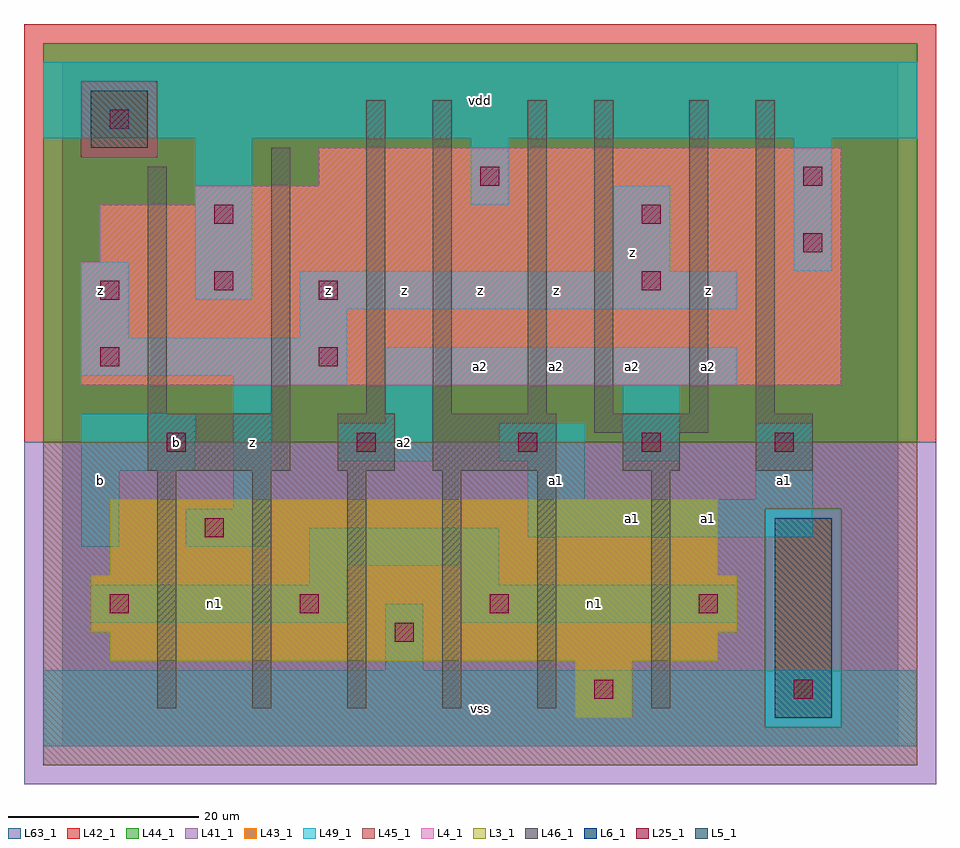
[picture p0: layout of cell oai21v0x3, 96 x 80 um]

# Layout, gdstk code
import gdstk
lib = gdstk.Library(unit=1e-6, precision=1e-09)
def R(c, l, rs):  # rectangles x0, y0, x1, y1
    for r in rs: c.add(gdstk.rectangle(r[:2], r[2:], *l))
def A(c, l, x, y, w, h, nx, ny, dx, dy):  # array of equal rectangles
    R(c, l, [(x+i*dx, y+j*dy, x+i*dx+w, y+j*dy+h) for i in range(nx) for j in range(ny)])
L3_1 = (3, 1)
L4_1 = (4, 1)
L5_1 = (5, 1)
L6_1 = (6, 1)
L25_1 = (25, 1)
L41_1 = (41, 1)
L42_1 = (42, 1)
L43_1 = (43, 1)
L44_1 = (44, 1)
L45_1 = (45, 1)
L46_1 = (46, 1)
L49_1 = (49, 1)
L63_1 = (63, 1)

oai21v0x3 = lib.new_cell('oai21v0x3')
R(oai21v0x3, L3_1, [(54,3,60,9), (5,9,69,12), (3,12,71,18), (5,18,69,26)])
R(oai21v0x3, L4_1, [(2,38,82,51), (4,51,82,57), (14,57,82,59), (27,59,82,63)])
R(oai21v0x3, L5_1, [(3,63,9,69)])
R(oai21v0x3, L6_1, [(75,3,81,24), (75,3,81,24)])
A(oai21v0x3, L25_1, 5, 14, 2, 2, 3, 1, 20, 0)
R(oai21v0x3, L25_1, [(56,5,58,7), (77,5,79,7), (35,11,37,13), (67,14,69,16), (15,22,17,24), (11,31,13,33), (31,31,33,33), (48,31,50,33), (61,31,63,33), (75,31,77,33), (4,40,6,42), (27,40,29,42), (4,47,6,49), (27,47,29,49), (16,48,18,50), (61,48,63,50), (78,52,80,54), (16,55,18,57), (61,55,63,57), (44,59,46,61), (78,59,80,61), (5,65,7,67)])
R(oai21v0x3, L41_1, [(-4,-4,92,32)])
R(oai21v0x3, L42_1, [(-4,32,92,76)])
R(oai21v0x3, L43_1, [(54,3,60,9), (75,3,81,24), (5,9,69,12), (3,12,71,18), (5,18,69,26), (2,38,82,51), (4,51,82,57), (14,57,82,59), (27,59,82,63), (3,63,9,69)])
R(oai21v0x3, L44_1, [(74,2,82,25), (-2,32,90,62), (-2,62,2,70), (10,62,90,70), (-2,70,90,74)])
R(oai21v0x3, L45_1, [(-2,-2,90,2), (-2,2,74,25), (82,2,90,25), (-2,25,90,32), (2,62,10,70)])
A(oai21v0x3, L46_1, 10, 4, 2, 25, 5, 1, 10, 0)
R(oai21v0x3, L46_1, [(62,4,64,29), (9,29,24,35), (29,29,35,35), (39,29,52,35), (59,29,65,33), (73,29,79,35), (56,33,68,35), (9,35,11,61), (22,35,24,63), (32,35,34,68), (39,35,41,68), (49,35,51,68), (56,35,58,68), (66,35,68,68), (73,35,75,68)])
R(oai21v0x3, L49_1, [(-2,0,90,8), (34,8,38,15), (3,13,30,17), (42,13,71,17), (26,17,30,19), (42,17,46,19), (26,19,46,23), (2,21,6,29), (13,21,22,25), (49,22,79,26), (18,25,22,38), (49,26,55,30), (73,26,79,34), (2,29,14,35), (29,30,39,34), (46,30,55,34), (59,30,65,38), (34,34,39,38), (18,38,30,39), (34,38,71,42), (2,39,30,43), (2,43,7,51), (25,43,30,46), (25,46,71,50), (14,47,20,64), (58,50,64,59), (77,50,81,64), (43,57,47,64), (-2,64,90,72)])
R(oai21v0x3, L63_1, [(0,0,88,72)])
oai21v0x3.add(gdstk.Label('b', (12,32), layer=49, texttype=1))
oai21v0x3.add(gdstk.Label('b', (4,28), layer=49, texttype=1))
oai21v0x3.add(gdstk.Label('z', (4,48), layer=49, texttype=1))
oai21v0x3.add(gdstk.Label('n1', (16,15), layer=49, texttype=1))
oai21v0x3.add(gdstk.Label('z', (20,32), layer=49, texttype=1))
oai21v0x3.add(gdstk.Label('z', (28,48), layer=49, texttype=1))
oai21v0x3.add(gdstk.Label('vss', (44,4), layer=49, texttype=1))
oai21v0x3.add(gdstk.Label('a2', (36,32), layer=49, texttype=1))
oai21v0x3.add(gdstk.Label('a2', (44,40), layer=49, texttype=1))
oai21v0x3.add(gdstk.Label('z', (36,48), layer=49, texttype=1))
oai21v0x3.add(gdstk.Label('z', (44,48), layer=49, texttype=1))
oai21v0x3.add(gdstk.Label('vdd', (44,68), layer=49, texttype=1))
oai21v0x3.add(gdstk.Label('a1', (60,24), layer=49, texttype=1))
oai21v0x3.add(gdstk.Label('a1', (68,24), layer=49, texttype=1))
oai21v0x3.add(gdstk.Label('a1', (52,28), layer=49, texttype=1))
oai21v0x3.add(gdstk.Label('a2', (52,40), layer=49, texttype=1))
oai21v0x3.add(gdstk.Label('a2', (60,40), layer=49, texttype=1))
oai21v0x3.add(gdstk.Label('a2', (68,40), layer=49, texttype=1))
oai21v0x3.add(gdstk.Label('z', (52,48), layer=49, texttype=1))
oai21v0x3.add(gdstk.Label('z', (60,52), layer=49, texttype=1))
oai21v0x3.add(gdstk.Label('z', (68,48), layer=49, texttype=1))
oai21v0x3.add(gdstk.Label('n1', (56,15), layer=49, texttype=1))
oai21v0x3.add(gdstk.Label('a1', (76,28), layer=49, texttype=1))

lib.write_gds('oai21v0x3.gds')
